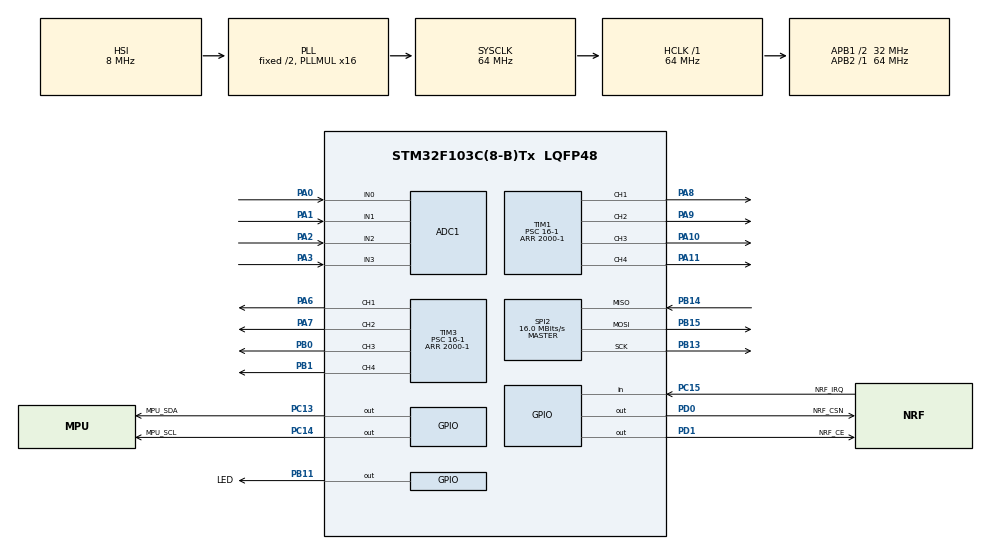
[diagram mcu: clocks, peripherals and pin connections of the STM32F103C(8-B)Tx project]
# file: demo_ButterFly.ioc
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ADC1.Channel-0\#ChannelRegularConversion=ADC_CHANNEL_0
ADC1.Channel-1\#ChannelInjectedConversion=ADC_CHANNEL_0
ADC1.Channel-2\#ChannelInjectedConversion=ADC_CHANNEL_1
ADC1.Channel-3\#ChannelInjectedConversion=ADC_CHANNEL_2
ADC1.Channel-4\#ChannelInjectedConversion=ADC_CHANNEL_3
ADC1.EnableInjectedConversion=ENABLE
ADC1.InjNumberOfConversion=4
ADC1.InjectedOffset-1\#ChannelInjectedConversion=0
ADC1.InjectedOffset-2\#ChannelInjectedConversion=0
ADC1.InjectedOffset-3\#ChannelInjectedConversion=0
ADC1.InjectedOffset-4\#ChannelInjectedConversion=0
ADC1.InjectedRank-1\#ChannelInjectedConversion=1
ADC1.InjectedRank-2\#ChannelInjectedConversion=2
ADC1.InjectedRank-3\#ChannelInjectedConversion=3
ADC1.InjectedRank-4\#ChannelInjectedConversion=4
ADC1.NbrOfConversionFlag=1
ADC1.Rank-0\#ChannelRegularConversion=1
ADC1.SamplingTime-0\#ChannelRegularConversion=ADC_SAMPLETIME_1CYCLE_5
ADC1.SamplingTime-1\#ChannelInjectedConversion=ADC_SAMPLETIME_1CYCLE_5
ADC1.SamplingTime-2\#ChannelInjectedConversion=ADC_SAMPLETIME_1CYCLE_5
ADC1.SamplingTime-3\#ChannelInjectedConversion=ADC_SAMPLETIME_1CYCLE_5
ADC1.SamplingTime-4\#ChannelInjectedConversion=ADC_SAMPLETIME_1CYCLE_5
ADC1.master=1
Mcu.Family=STM32F1
Mcu.Name=STM32F103C(8-B)Tx
Mcu.Package=LQFP48
NVIC.ADC1_2_IRQn=true\:0\:0\:false\:false\:true\:true\:true\:true
NVIC.PriorityGroup=NVIC_PRIORITYGROUP_4
NVIC.TIM2_IRQn=true\:0\:0\:false\:false\:true\:true\:true\:true
PA0-WKUP.Signal=ADCx_IN0
PA1.Signal=ADCx_IN1
PA10.Signal=S_TIM1_CH3
PA11.Signal=S_TIM1_CH4
PA13.Mode=Serial_Wire
PA13.Signal=SYS_JTMS-SWDIO
PA14.Mode=Serial_Wire
PA14.Signal=SYS_JTCK-SWCLK
PA2.Signal=ADCx_IN2
PA3.Signal=ADCx_IN3
PA6.Signal=S_TIM3_CH1
PA7.Signal=S_TIM3_CH2
PA8.Signal=S_TIM1_CH1
PA9.Signal=S_TIM1_CH2
PB0.Signal=S_TIM3_CH3
PB1.Signal=S_TIM3_CH4
PB11.GPIO_Label=LED
PB11.GPIO_PuPd=GPIO_PULLUP
PB11.Signal=GPIO_Output
PB13.Mode=Full_Duplex_Master
PB13.Signal=SPI2_SCK
PB14.Mode=Full_Duplex_Master
PB14.Signal=SPI2_MISO
PB15.Mode=Full_Duplex_Master
PB15.Signal=SPI2_MOSI
PC13-TAMPER-RTC.GPIO_Label=MPU_SDA
PC13-TAMPER-RTC.Signal=GPIO_Output
PC14-OSC32_IN.GPIO_Label=MPU_SCL
PC14-OSC32_IN.Signal=GPIO_Output
PC15-OSC32_OUT.GPIO_Label=NRF_IRQ
PC15-OSC32_OUT.GPIO_PuPd=GPIO_PULLUP
PC15-OSC32_OUT.Signal=GPIO_Input
PD0-OSC_IN.GPIO_Label=NRF_CSN
PD0-OSC_IN.Signal=GPIO_Output
PD1-OSC_OUT.GPIO_Label=NRF_CE
PD1-OSC_OUT.Signal=GPIO_Output
ProjectManager.HeapSize=0x200
ProjectManager.StackSize=0x400
ProjectManager.TargetToolchain=MDK-ARM V5.32
RCC.ADCPresc=RCC_ADCPCLK2_DIV6
RCC.AHBFreq_Value=64000000
RCC.APB1CLKDivider=RCC_HCLK_DIV2
RCC.APB1Freq_Value=32000000
RCC.APB1TimFreq_Value=64000000
RCC.APB2Freq_Value=64000000
RCC.APB2TimFreq_Value=64000000
RCC.HCLKFreq_Value=64000000
RCC.PLLMUL=RCC_PLL_MUL16
RCC.SYSCLKFreq_VALUE=64000000
RCC.SYSCLKSource=RCC_SYSCLKSOURCE_PLLCLK
RCC.USBFreq_Value=64000000
SH.ADCx_IN0.0=ADC1_IN0,IN0
SH.ADCx_IN1.0=ADC1_IN1,IN1
SH.ADCx_IN2.0=ADC1_IN2,IN2
SH.ADCx_IN3.0=ADC1_IN3,IN3
SH.S_TIM1_CH1.0=TIM1_CH1,PWM Generation1 CH1
SH.S_TIM1_CH2.0=TIM1_CH2,PWM Generation2 CH2
SH.S_TIM1_CH3.0=TIM1_CH3,PWM Generation3 CH3
SH.S_TIM1_CH4.0=TIM1_CH4,PWM Generation4 CH4
SH.S_TIM3_CH1.0=TIM3_CH1,PWM Generation1 CH1
SH.S_TIM3_CH2.0=TIM3_CH2,PWM Generation2 CH2
SH.S_TIM3_CH3.0=TIM3_CH3,PWM Generation3 CH3
SH.S_TIM3_CH4.0=TIM3_CH4,PWM Generation4 CH4
SPI2.CalculateBaudRate=16.0 MBits/s
SPI2.Direction=SPI_DIRECTION_2LINES
SPI2.Mode=SPI_MODE_MASTER
SPI2.VirtualType=VM_MASTER
TIM1.AutoReloadPreload=TIM_AUTORELOAD_PRELOAD_DISABLE
TIM1.Channel-PWM\ Generation1\ CH1=TIM_CHANNEL_1
TIM1.Channel-PWM\ Generation2\ CH2=TIM_CHANNEL_2
TIM1.Channel-PWM\ Generation3\ CH3=TIM_CHANNEL_3
TIM1.Channel-PWM\ Generation4\ CH4=TIM_CHANNEL_4
TIM1.Period=2000-1
TIM1.Prescaler=16-1
TIM2.AutoReloadPreload=TIM_AUTORELOAD_PRELOAD_ENABLE
TIM2.Period=1000-1
TIM2.Prescaler=64-1
TIM3.Channel-PWM\ Generation1\ CH1=TIM_CHANNEL_1
TIM3.Channel-PWM\ Generation2\ CH2=TIM_CHANNEL_2
TIM3.Channel-PWM\ Generation3\ CH3=TIM_CHANNEL_3
TIM3.Channel-PWM\ Generation4\ CH4=TIM_CHANNEL_4
TIM3.Period=2000-1
TIM3.Prescaler=16-1
VP_TIM1_VS_ClockSourceINT.Mode=Internal
VP_TIM2_VS_ClockSourceINT.Mode=Internal
VP_TIM3_VS_ClockSourceINT.Mode=Internal
board=custom

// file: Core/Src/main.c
/* USER CODE BEGIN Header */
/**
  ******************************************************************************
  * @file           : main.c
  * @brief          : Main program body
  ******************************************************************************
  * @attention
  *
  * Copyright (c) 2025 STMicroelectronics.
  * All rights reserved.
  *
  * This software is licensed under terms that can be found in the LICENSE file
  * in the root directory of this software component.
  * If no LICENSE file comes with this software, it is provided AS-IS.
  *
  ******************************************************************************
  */
/* USER CODE END Header */
#include "main.h"
#include "adc.h"
#include "spi.h"
#include "tim.h"
#include "gpio.h"

/* USER CODE BEGIN Includes */
#include <string.h>
#include "IIC.h"
#include "inv_mpu.h"
#include "inv_mpu_dmp_motion_driver.h"
#include "mpu6050.h"
#include "nRF24L01.h"
#include "nRF_printf.h"
#include "filter.h"
#include "Motor.h"
/* USER CODE END Includes */

void SystemClock_Config(void);

int main(void)
{

  /* MCU Configuration--------------------------------------------------------*/

  /* Reset of all peripherals, Initializes the Flash interface and the Systick. */
  HAL_Init();

  /* Configure the system clock */
  SystemClock_Config();

  /* Initialize all configured peripherals */
  MX_GPIO_Init();
  MX_SPI2_Init();
  MX_TIM2_Init();
  MX_TIM1_Init();
  MX_TIM3_Init();
  MX_ADC1_Init();
  /* USER CODE BEGIN 2 */
  // HAL_TIM_Base_Start_IT(&htim2);
  Motor_Init();
  NRF24L01_Init();
  MPU_Init();
	mpu_dmp_init();
  /* USER CODE END 2 */

  /* Infinite loop */
  /* USER CODE BEGIN WHILE */
  // float pitch,roll,yaw;
  while (1)
  {
    // nRF_Loop();
    // mpu_dmp_get_data(&pitch,&roll,&yaw);
    // float data[] = {Sguan.Encoder0.Real_Speed,25.0f,Sguan.Encoder0.Raw_data};
    // nRF_Printf(data,3);
    HAL_GPIO_TogglePin(GPIOB,GPIO_PIN_11);
    HAL_Delay(300);
    /* USER CODE END WHILE */

  }
}

void SystemClock_Config(void)
{
  RCC_OscInitTypeDef RCC_OscInitStruct = {0};
  RCC_ClkInitTypeDef RCC_ClkInitStruct = {0};
  RCC_PeriphCLKInitTypeDef PeriphClkInit = {0};

  /** Initializes the RCC Oscillators according to the specified parameters
  * in the RCC_OscInitTypeDef structure.
  */
  RCC_OscInitStruct.OscillatorType = RCC_OSCILLATORTYPE_HSI;
  RCC_OscInitStruct.HSIState = RCC_HSI_ON;
  RCC_OscInitStruct.HSICalibrationValue = RCC_HSICALIBRATION_DEFAULT;
  RCC_OscInitStruct.PLL.PLLState = RCC_PLL_ON;
  RCC_OscInitStruct.PLL.PLLSource = RCC_PLLSOURCE_HSI_DIV2;
  RCC_OscInitStruct.PLL.PLLMUL = RCC_PLL_MUL16;
  if (HAL_RCC_OscConfig(&RCC_OscInitStruct) != HAL_OK)
  {
    Error_Handler();
  }

  /** Initializes the CPU, AHB and APB buses clocks
  */
  RCC_ClkInitStruct.ClockType = RCC_CLOCKTYPE_HCLK|RCC_CLOCKTYPE_SYSCLK
                              |RCC_CLOCKTYPE_PCLK1|RCC_CLOCKTYPE_PCLK2;
  RCC_ClkInitStruct.SYSCLKSource = RCC_SYSCLKSOURCE_PLLCLK;
  RCC_ClkInitStruct.AHBCLKDivider = RCC_SYSCLK_DIV1;
  RCC_ClkInitStruct.APB1CLKDivider = RCC_HCLK_DIV2;
  RCC_ClkInitStruct.APB2CLKDivider = RCC_HCLK_DIV1;

  if (HAL_RCC_ClockConfig(&RCC_ClkInitStruct, FLASH_LATENCY_2) != HAL_OK)
  {
    Error_Handler();
  }
  PeriphClkInit.PeriphClockSelection = RCC_PERIPHCLK_ADC;
  PeriphClkInit.AdcClockSelection = RCC_ADCPCLK2_DIV6;
  if (HAL_RCCEx_PeriphCLKConfig(&PeriphClkInit) != HAL_OK)
  {
    Error_Handler();
  }
}

void Error_Handler(void)
{
  __disable_irq();
  while (1)
  {
  }
}
